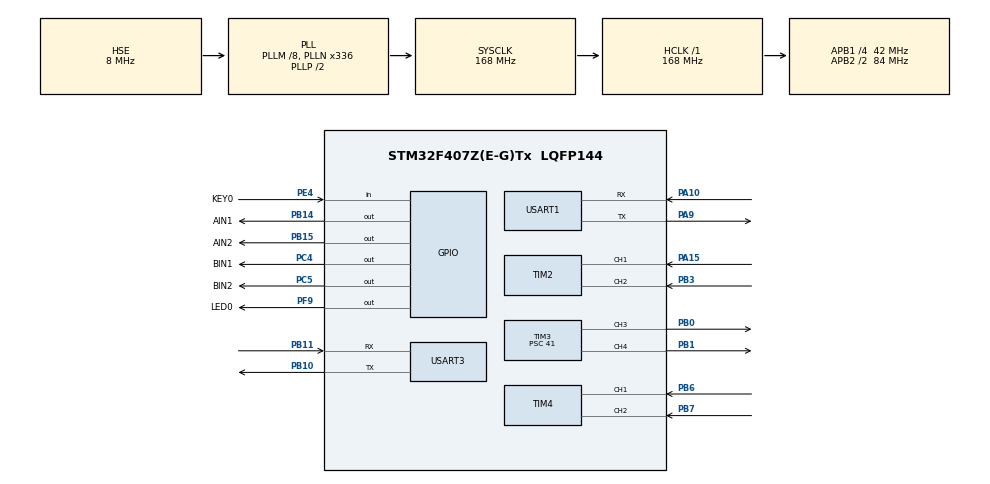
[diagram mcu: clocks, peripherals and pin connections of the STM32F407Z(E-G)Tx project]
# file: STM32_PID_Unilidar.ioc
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Dma.Request0=USART3_RX
Dma.Request1=USART3_TX
Dma.USART3_RX.0.Direction=DMA_PERIPH_TO_MEMORY
Dma.USART3_RX.0.FIFOMode=DMA_FIFOMODE_DISABLE
Dma.USART3_RX.0.Instance=DMA1_Stream1
Dma.USART3_RX.0.MemDataAlignment=DMA_MDATAALIGN_BYTE
Dma.USART3_RX.0.MemInc=DMA_MINC_ENABLE
Dma.USART3_RX.0.Mode=DMA_CIRCULAR
Dma.USART3_RX.0.PeriphDataAlignment=DMA_PDATAALIGN_BYTE
Dma.USART3_RX.0.PeriphInc=DMA_PINC_DISABLE
Dma.USART3_RX.0.Priority=DMA_PRIORITY_LOW
Dma.USART3_TX.1.Direction=DMA_MEMORY_TO_PERIPH
Dma.USART3_TX.1.FIFOMode=DMA_FIFOMODE_DISABLE
Dma.USART3_TX.1.Instance=DMA1_Stream3
Dma.USART3_TX.1.MemDataAlignment=DMA_MDATAALIGN_BYTE
Dma.USART3_TX.1.MemInc=DMA_MINC_ENABLE
Dma.USART3_TX.1.Mode=DMA_NORMAL
Dma.USART3_TX.1.PeriphDataAlignment=DMA_PDATAALIGN_BYTE
Dma.USART3_TX.1.PeriphInc=DMA_PINC_DISABLE
Dma.USART3_TX.1.Priority=DMA_PRIORITY_LOW
Mcu.Family=STM32F4
Mcu.Name=STM32F407Z(E-G)Tx
Mcu.Package=LQFP144
NVIC.DMA1_Stream1_IRQn=true\:0\:0\:false\:false\:true\:false\:true\:true
NVIC.DMA1_Stream3_IRQn=true\:0\:0\:false\:false\:true\:false\:true\:true
NVIC.PriorityGroup=NVIC_PRIORITYGROUP_4
NVIC.TIM3_IRQn=true\:0\:0\:false\:false\:true\:true\:true\:true
NVIC.TIM6_DAC_IRQn=true\:0\:0\:false\:false\:true\:true\:true\:true
NVIC.USART1_IRQn=true\:0\:0\:false\:false\:true\:true\:true\:true
NVIC.USART3_IRQn=true\:0\:0\:false\:false\:true\:true\:true\:true
PA10.Mode=Asynchronous
PA10.Signal=USART1_RX
PA13.Mode=Serial_Wire
PA13.Signal=SYS_JTMS-SWDIO
PA14.Mode=Serial_Wire
PA14.Signal=SYS_JTCK-SWCLK
PA15.Signal=S_TIM2_CH1_ETR
PA9.Mode=Asynchronous
PA9.Signal=USART1_TX
PB0.Signal=S_TIM3_CH3
PB1.Signal=S_TIM3_CH4
PB10.Mode=Asynchronous
PB10.Signal=USART3_TX
PB11.Mode=Asynchronous
PB11.Signal=USART3_RX
PB14.GPIO_Label=AIN1
PB14.Signal=GPIO_Output
PB15.GPIO_Label=AIN2
PB15.Signal=GPIO_Output
PB3.Signal=S_TIM2_CH2
PB6.Signal=S_TIM4_CH1
PB7.Signal=S_TIM4_CH2
PC14-OSC32_IN.Mode=LSE-External-Oscillator
PC14-OSC32_IN.Signal=RCC_OSC32_IN
PC15-OSC32_OUT.Mode=LSE-External-Oscillator
PC15-OSC32_OUT.Signal=RCC_OSC32_OUT
PC4.GPIO_Label=BIN1
PC4.Signal=GPIO_Output
PC5.GPIO_Label=BIN2
PC5.Signal=GPIO_Output
PE4.GPIO_Label=KEY0
PE4.GPIO_PuPd=GPIO_PULLUP
PE4.Signal=GPIO_Input
PF9.GPIO_Label=LED0
PF9.PinState=GPIO_PIN_SET
PF9.Signal=GPIO_Output
PH0-OSC_IN.Mode=HSE-External-Oscillator
PH0-OSC_IN.Signal=RCC_OSC_IN
PH1-OSC_OUT.Mode=HSE-External-Oscillator
PH1-OSC_OUT.Signal=RCC_OSC_OUT
ProjectManager.HeapSize=0x400
ProjectManager.StackSize=0x1000
ProjectManager.TargetToolchain=MDK-ARM V5.27
RCC.48MHZClocksFreq_Value=84000000
RCC.AHBFreq_Value=168000000
RCC.APB1CLKDivider=RCC_HCLK_DIV4
RCC.APB1Freq_Value=42000000
RCC.APB1TimFreq_Value=84000000
RCC.APB2CLKDivider=RCC_HCLK_DIV2
RCC.APB2Freq_Value=84000000
RCC.APB2TimFreq_Value=168000000
RCC.CortexFreq_Value=168000000
RCC.HCLKFreq_Value=168000000
RCC.HSE_VALUE=8000000
RCC.HSI_VALUE=16000000
RCC.PLLM=8
RCC.PLLN=336
RCC.PLLSourceVirtual=RCC_PLLSOURCE_HSE
RCC.SYSCLKFreq_VALUE=168000000
RCC.SYSCLKSource=RCC_SYSCLKSOURCE_PLLCLK
RCC.VCOOutputFreq_Value=336000000
SH.S_TIM2_CH1_ETR.0=TIM2_CH1,Encoder_Interface
SH.S_TIM2_CH2.0=TIM2_CH2,Encoder_Interface
SH.S_TIM3_CH3.0=TIM3_CH3,PWM Generation3 CH3
SH.S_TIM3_CH4.0=TIM3_CH4,PWM Generation4 CH4
SH.S_TIM4_CH1.0=TIM4_CH1,Encoder_Interface
SH.S_TIM4_CH2.0=TIM4_CH2,Encoder_Interface
TIM2.EncoderMode=TIM_ENCODERMODE_TI12
TIM3.Channel-PWM\ Generation3\ CH3=TIM_CHANNEL_3
TIM3.Channel-PWM\ Generation4\ CH4=TIM_CHANNEL_4
TIM3.Period=99
TIM3.Prescaler=41
TIM4.EncoderMode=TIM_ENCODERMODE_TI12
TIM6.Period=999
TIM6.Prescaler=83
USART1.VirtualMode=VM_ASYNC
USART3.VirtualMode=VM_ASYNC
VP_TIM6_VS_ClockSourceINT.Mode=Enable_Timer
board=custom

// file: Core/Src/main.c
/* USER CODE BEGIN Header */
/**
  ******************************************************************************
  * @file           : main.c
  * @brief          : Main program body
  ******************************************************************************
  * @attention
  *
  * Copyright (c) 2025 STMicroelectronics.
  * All rights reserved.
  *
  * This software is licensed under terms that can be found in the LICENSE file
  * in the root directory of this software component.
  * If no LICENSE file comes with this software, it is provided AS-IS.
  *
  ******************************************************************************
  */
/* USER CODE END Header */
#include "main.h"
#include "dma.h"
#include "tim.h"
#include "usart.h"
#include "gpio.h"

/* USER CODE BEGIN Includes */
#include "mainpp.h"
#include "motor.h"
#include "pid.h"
#include "Serial.h"
#include "Control.h"
#include "Key.h"
#include "Encoder.h"

/* USER CODE END Includes */

void SystemClock_Config(void);
/* USER CODE BEGIN PFP */
void Self_Check_Motors();
/* USER CODE END PFP */

/* USER CODE BEGIN 0 */
uint8_t rx_char ;
/* USER CODE END 0 */

int main(void)
{

  /* MCU Configuration--------------------------------------------------------*/

  /* Reset of all peripherals, Initializes the Flash interface and the Systick. */
  HAL_Init();

  /* Configure the system clock */
  SystemClock_Config();

  /* Initialize all configured peripherals */
  MX_GPIO_Init();
  MX_DMA_Init();
  MX_USART3_UART_Init();
  MX_TIM2_Init();
  MX_TIM3_Init();
  MX_USART1_UART_Init();
  MX_TIM6_Init();
  MX_TIM4_Init();
  /* USER CODE BEGIN 2 */
	//HAL_UART_Receive_IT(&huart3, &rx_char, 1);
	Key_Init();
	Serial_Init(); // <<< 确保调试串口被初始化
	Motor_Init();
	Control_Init();
	setup();

	HAL_TIM_Base_Start_IT(&htim6);

//   ===【关键】设定一个目标位置 ===
//   让小车前进 50000 个脉冲的距离
//   Control_Set_Target_Position_Left(200.0f); // 你需要去 Control.c/h 添加这个函数
//	 Control_Set_Target_Position_Right(200.0f);
//	 HAL_Delay(5000);
//	 Control_Set_Target_Position_Left(1000.0f); // 你需要去 Control.c/h 添加这个函数
//	 Control_Set_Target_Position_Right(1000.0f);
	//*******************实验测试轮子编码器值和实际运动的值************************************
//	while(Key_GetNum() != KEY0_PRES)
//  {
//      // 等待...
//      HAL_Delay(10);
//  }
//
//  Serial_Printf("Calibration Test Started. Robot will move forward for 5 seconds.\r\n");
//  HAL_Delay(500); // 延时一下，给你拿开手的时间

//  // 2. 在开始运动前，清零编码器计数
//  Encoder_Get_Left();
//  Encoder_Get_Right();

//  // 3. 让左右轮以一个较低的、恒定的速度同向转动
//  int16_t test_pwm = 25; // 使用一个较小的 PWM 值，例如 25%
//  Motor_SetSpeed_Left(test_pwm);
//  Motor_SetSpeed_Right(test_pwm); // 确保两个轮子都正转
//
//  // 4. 持续前进 5 秒
//  HAL_Delay(5000);
//
//  // 5. 停止电机
//  Motor_SetSpeed_Left(0);
//  Motor_SetSpeed_Right(0);
//
//  // 6. 读取这 5 秒内累积的总脉冲数
//  int32_t total_ticks_left = Encoder_Get_Left();
//  int32_t total_ticks_right = Encoder_Get_Right();
//
//  // 7. 通过串口打印出最终结果
//  Serial_Printf("========== Calibration Complete! ==========\r\n");
//  Serial_Printf("Please measure the distance traveled (in cm).\r\n");
//  Serial_Printf("Total Ticks Left: %ld\r\n", total_ticks_left);
//  Serial_Printf("Total Ticks Right: %ld\r\n", total_ticks_right);
//

  // 按键(PE4)未被按下时，HAL_GPIO_ReadPin 返回 GPIO_PIN_SET (高电平)
//  while(HAL_GPIO_ReadPin(KEY0_GPIO_Port, KEY0_Pin) != GPIO_PIN_RESET)
//  {
//    // 让 LED0(PF9) 闪烁，表示正在等待
//    HAL_GPIO_TogglePin(LED0_GPIO_Port, LED0_Pin);
//    HAL_Delay(200);
//  }
//
//  // 按键被按下(低电平)后，跳出循环
//  // 让 LED0(PF9) 常亮，表示程序已开始运行 (低电平点亮)
//  HAL_GPIO_WritePin(LED0_GPIO_Port, LED0_Pin, GPIO_PIN_RESET);
////
//	setup();
		//uint8_t message[] = "1\r\n"; // 加上换行符

  /* USER CODE END 2 */

  /* Infinite loop */
  /* USER CODE BEGIN WHILE */
  while (1)
  {
		//loop();
//		HAL_UART_Transmit(&huart3, message, sizeof(message) - 1, 100); // 100ms 超时
//    HAL_Delay(500); // 每秒发送两次
//	    uint8_t key = Key_GetNum();
//			if (key == KEY0_PRES)
//			{
//					Control_Set_Target_Position_Left(500.0f);
//					Control_Increase_Target_Speed_Ticks(50.0f); // 目标速度增加 10
//			}
//				HAL_Delay(20);

//		HAL_GPIO_TogglePin(LED0_GPIO_Port, LED0_Pin);
//    HAL_Delay(500);

    /* USER CODE END WHILE */

  }
}

void SystemClock_Config(void)
{
  RCC_OscInitTypeDef RCC_OscInitStruct = {0};
  RCC_ClkInitTypeDef RCC_ClkInitStruct = {0};

  /** Configure the main internal regulator output voltage
  */
  __HAL_RCC_PWR_CLK_ENABLE();
  __HAL_PWR_VOLTAGESCALING_CONFIG(PWR_REGULATOR_VOLTAGE_SCALE1);

  /** Initializes the RCC Oscillators according to the specified parameters
  * in the RCC_OscInitTypeDef structure.
  */
  RCC_OscInitStruct.OscillatorType = RCC_OSCILLATORTYPE_HSE;
  RCC_OscInitStruct.HSEState = RCC_HSE_ON;
  RCC_OscInitStruct.PLL.PLLState = RCC_PLL_ON;
  RCC_OscInitStruct.PLL.PLLSource = RCC_PLLSOURCE_HSE;
  RCC_OscInitStruct.PLL.PLLM = 8;
  RCC_OscInitStruct.PLL.PLLN = 336;
  RCC_OscInitStruct.PLL.PLLP = RCC_PLLP_DIV2;
  RCC_OscInitStruct.PLL.PLLQ = 4;
  if (HAL_RCC_OscConfig(&RCC_OscInitStruct) != HAL_OK)
  {
    Error_Handler();
  }

  /** Initializes the CPU, AHB and APB buses clocks
  */
  RCC_ClkInitStruct.ClockType = RCC_CLOCKTYPE_HCLK|RCC_CLOCKTYPE_SYSCLK
                              |RCC_CLOCKTYPE_PCLK1|RCC_CLOCKTYPE_PCLK2;
  RCC_ClkInitStruct.SYSCLKSource = RCC_SYSCLKSOURCE_PLLCLK;
  RCC_ClkInitStruct.AHBCLKDivider = RCC_SYSCLK_DIV1;
  RCC_ClkInitStruct.APB1CLKDivider = RCC_HCLK_DIV4;
  RCC_ClkInitStruct.APB2CLKDivider = RCC_HCLK_DIV2;

  if (HAL_RCC_ClockConfig(&RCC_ClkInitStruct, FLASH_LATENCY_5) != HAL_OK)
  {
    Error_Handler();
  }
}

/* USER CODE BEGIN 4 */
//void HAL_UART_RxCpltCallback(UART_HandleTypeDef *huart) {
//  if (huart->Instance == USART3) {
//    // 如果收到的字符是 'a'
//    if (rx_char == 'a') {
//      // 翻转 LED0 (PF9)
//      HAL_GPIO_TogglePin(LED0_GPIO_Port, LED0_Pin);
//    }
//    // 再次启动下一次接收
//    HAL_UART_Receive_IT(&huart3, &rx_char, 1);
//  }
//}

void HAL_TIM_PeriodElapsedCallback(TIM_HandleTypeDef *htim)
{
    // 首先，检查中断是否来自于我们的心跳定时器 TIM6
  if (htim->Instance == TIM6)
  {
    // 定义一个静态变量作为任务调度计数器
    // static 变量只会在第一次调用时初始化为0，之后会保留它的值
    static uint16_t task_scheduler_counter = 0;

    // 每次中断，计数器加 1
    task_scheduler_counter++;

    // ============ 任务1: PID 控制循环 (目标频率: 100Hz) ============
    // 100Hz 的周期是 10ms。因为当前中断是 1ms 一次，所以每 10 次中断执行一次。
    if (task_scheduler_counter % 1 == 0)
    {
        // 调用主控制循环
        Control_Loop();
    }

    // ============ 任务2: ROS 通信循环 (目标频率: 50Hz) ============
    // 50Hz 的周期是 10ms。所以每 10 次中断执行一次。
    if (task_scheduler_counter % 10 == 0)
    {
        // 调用 ROS 的主处理函数
        loop();
    }

    // 为了防止计数器溢出，在计满一个大周期后将其清零
    // 例如，我们可以选择 100ms (100次中断) 或 1秒 (1000次中断) 作为一个大周期
    if (task_scheduler_counter >= 1000)
    {
        task_scheduler_counter = 0;
    }
  }
}

void Self_Check_Motors(void)
{
    int16_t test_speed = 30; // 使用一个较低的速度进行测试，例如 30% 占空比
    uint32_t delay_ms = 1000; // 每个动作持续 1 秒

    // 1. 提示开始自检 (LED 快闪)
    Serial_Printf("Starting Motor Self-Check...\r\n");
    for(int i=0; i<5; i++)
    {
        HAL_GPIO_TogglePin(LED0_GPIO_Port, LED0_Pin);
        HAL_Delay(100);
        HAL_GPIO_TogglePin(LED0_GPIO_Port, LED0_Pin);
        HAL_Delay(100);
    }
    HAL_GPIO_WritePin(LED0_GPIO_Port, LED0_Pin, GPIO_PIN_SET); // 先熄灭 LED

    // 2. 测试右轮正转
    Serial_Printf("Testing Right Wheel Forward...\r\n");
    Motor_SetSpeed_Right(test_speed);
    HAL_Delay(delay_ms);
    Motor_SetSpeed_Right(0); // 测试完后立即停止
    HAL_Delay(500); // 短暂延时

    // 3. 测试右轮反转
    Serial_Printf("Testing Right Wheel Backward...\r\n");
    Motor_SetSpeed_Right(-test_speed);
    HAL_Delay(delay_ms);
    Motor_SetSpeed_Right(0);
    HAL_Delay(500);

    // 4. 测试左轮正转
    Serial_Printf("Testing Left Wheel Forward...\r\n");
    Motor_SetSpeed_Left(test_speed);
    HAL_Delay(delay_ms);
    Motor_SetSpeed_Left(0);
    HAL_Delay(500);

    // 5. 测试左轮反转
    Serial_Printf("Testing Left Wheel Backward...\r\n");
    Motor_SetSpeed_Left(-test_speed);
    HAL_Delay(delay_ms);
    Motor_SetSpeed_Left(0);

    // 6. 自检结束，LED 常亮 (假设低电平点亮)
    Serial_Printf("Self-Check Complete!\r\n");
    HAL_GPIO_WritePin(LED0_GPIO_Port, LED0_Pin, GPIO_PIN_RESET);
    HAL_Delay(1000); // 延时1秒，让你能看到常亮状态
}

/* USER CODE END 4 */

void Error_Handler(void)
{
  __disable_irq();
  while (1)
  {
  }
}
